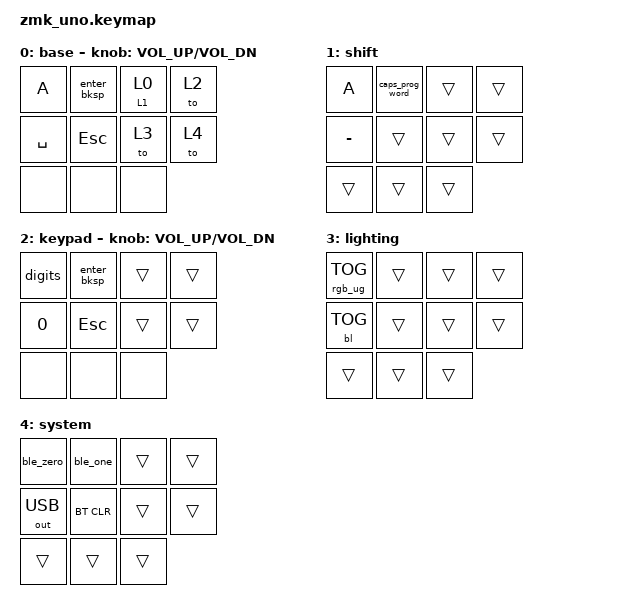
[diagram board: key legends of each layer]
/*
 * Copyright (c) 2022 The ZMK Contributors
 *
 * SPDX-License-Identifier: MIT
 */

#include <behaviors.dtsi>
#include <dt-bindings/zmk/keys.h>
#include <dt-bindings/zmk/backlight.h>
#include <dt-bindings/zmk/bt.h>
#include <dt-bindings/zmk/ext_power.h>
#include <dt-bindings/zmk/outputs.h>
#include <dt-bindings/zmk/rgb.h>

#include "zmk_uno_matrix.dtsi"
// #include "zmk_uno_direct.dtsi"

#define A_MACRON 0x101 0x100

// uni: &uni_wincompose {
//     compose-key = <K_MENU>;
// };
// uni: &mt {};

/ {
    // chosen {
    //     zmk,character_map = &charmap_us;
    // };

    behaviors {
        // ZMK_SEND_STRING(hello_world, "Hello, world!")

        digits: digits {
            compatible = "zmk,behavior-tap-dance";
            #binding-cells = <0>;
            tapping-term-ms = <300>;
            bindings = <&kp N1 &kp N2 &kp N3 &kp N4 &kp N5 &kp N6 &kp N7 &kp N8 &kp N9>;
        };

        enter_bksp: enter_bksp {
            compatible = "zmk,behavior-tap-dance";
            #binding-cells = <0>;
            tapping-term-ms = <200>;
            bindings = <&kp ENTER &kp BKSP>;
        };

        // TODO: remove this for caps word PR
        prog_word: prog_word {
            compatible = "zmk,behavior-caps-word";
            #binding-cells = <0>;
            continue-list = <UNDERSCORE MINUS BACKSPACE DELETE>;
        };

        caps_prog_word: caps_prog_word {
            compatible = "zmk,behavior-tap-dance";
            #binding-cells = <0>;
            tapping-term-ms = <300>;
            bindings = <&kp_caps LSHIFT 0 &prog_word>;
        };

        kp_caps: kp_caps {
            compatible = "zmk,behavior-hold-tap";
            #binding-cells = <2>;
            tapping-term-ms = <200>;
            bindings = <&kp>, <&caps_word>;
        };

        to_to: to_to {
            compatible = "zmk,behavior-hold-tap";
            #binding-cells = <2>;
            tapping-term-ms = <200>;
            bindings = <&to>, <&to>;
        };
    };

    // bootloader_key {
    //     compatible = "zmk,startup-bootloader-key";
    // };

    macros {
        ble_zero: ble_zero {
            compatible = "zmk,behavior-macro";
            #binding-cells = <0>;
            wait-ms = <1>;
            tap-ms = <1>;
            bindings = <&out OUT_BLE &bt BT_SEL 0>;
        };

        ble_one: ble_one {
            compatible = "zmk,behavior-macro";
            #binding-cells = <0>;
            wait-ms = <1>;
            tap-ms = <1>;
            bindings = <&out OUT_BLE &bt BT_SEL 1>;
        };
    };

    keymap {
        compatible = "zmk,keymap";

        base {
            display-name = "base";
            bindings = <
                &kp A     &enter_bksp       &to_to 1 0 &to 2
                &kp SPACE &kp ESC           &to 3      &to 4

                &none &none &none
            >;

            sensor-bindings = <&inc_dec_kp C_VOL_UP C_VOL_DN>;
        };

        shift {
            display-name = "shift";
            bindings = <
                &kp A     &caps_prog_word   &trans &trans
                &kp MINUS &trans            &trans &trans

                &trans &trans &trans
            >;
        };


        keypad {
            display-name = "keypad";
            bindings = <
                &digits   &enter_bksp       &trans &trans
                &kp N0    &kp ESC           &trans &trans

                &none &none &none
            >;

            sensor-bindings = <&inc_dec_kp C_VOL_UP C_VOL_DN>;
        };

        lighting {
            display-name = "lighting";
            bindings = <
                &rgb_ug RGB_TOG   &trans    &trans &trans
                &bl BL_TOG        &trans    &trans &trans

                &trans &trans &trans
            >;
        };

        system {
            label = "system";
            display-name = "system";
            bindings = <
                &ble_zero    &ble_one       &trans &trans
                &out OUT_USB &bt BT_CLR     &trans &trans

                &trans &trans &trans
            >;
        };
    };

    sensors {
        triggers-per-rotation = <36>;
    };
};

&encoder {
    steps = <36>;
	// a-gpios = <&arduino_header 15 GPIO_PULL_UP>;
    // b-gpios = <&arduino_header 14 GPIO_PULL_UP>;
};
